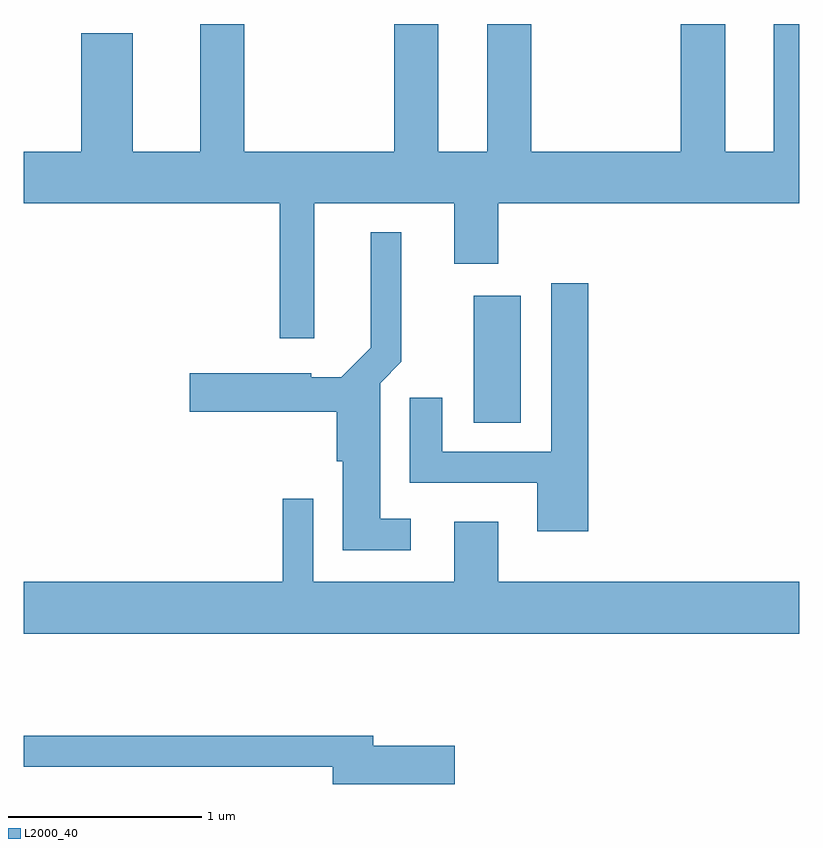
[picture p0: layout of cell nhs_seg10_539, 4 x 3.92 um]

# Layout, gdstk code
import gdstk
lib = gdstk.Library(unit=1e-6, precision=1e-09)
def R(c, l, rs):  # rectangles x0, y0, x1, y1
    for r in rs: c.add(gdstk.rectangle(r[:2], r[2:], *l))
def P(c, l, *ps):  # polygons
    for p in ps: c.add(gdstk.Polygon(p, *l))
L2000_40 = (2000, 40)

nhs_seg10_539 = lib.new_cell('nhs_seg10_539')
R(nhs_seg10_539, L2000_40, [(201.931,2210.466,202.174,2211.119)])
P(nhs_seg10_539, L2000_40, [(201.109,2211.596),(201.831,2211.596),(201.831,2211.286),(202.059,2211.286),(202.059,2211.596),(203.611,2211.596),(203.611,2212.522),(203.481,2212.522),(203.481,2211.864),(203.229,2211.864),(203.229,2212.522),(203.001,2212.522),(203.001,2211.864),(202.229,2211.864),(202.229,2212.522),(202.001,2212.522),(202.001,2211.864),(201.749,2211.864),(201.749,2212.522),(201.521,2212.522),(201.521,2211.864),(200.749,2211.864),(200.749,2212.522),(200.521,2212.522),(200.521,2211.864),(200.174,2211.864),(200.174,2212.474),(199.906,2212.474),(199.906,2211.864),(199.611,2211.864),(199.611,2211.596),(200.931,2211.596),(200.931,2210.901),(201.109,2210.901)],
  [(201.608,2209.969),(201.449,2209.969),(201.449,2210.669),(201.559,2210.779),(201.559,2211.448),(201.401,2211.448),(201.401,2210.852),(201.249,2210.699),(201.094,2210.699),(201.094,2210.719),(200.466,2210.719),(200.466,2210.521),(201.226,2210.521),(201.226,2210.266),(201.256,2210.266),(201.256,2209.806),(201.608,2209.806)],
  [(202.524,2211.184),(202.331,2211.184),(202.331,2210.314),(201.769,2210.314),(201.769,2210.593),(201.601,2210.593),(201.601,2210.156),(202.261,2210.156),(202.261,2209.906),(202.524,2209.906)],
  [(203.611,2209.644),(202.059,2209.644),(202.059,2209.954),(201.831,2209.954),(201.831,2209.644),(201.104,2209.644),(201.104,2210.073),(200.946,2210.073),(200.946,2209.644),(199.611,2209.644),(199.611,2209.376),(203.611,2209.376)],
  [(201.834,2208.799),(201.414,2208.799),(201.414,2208.849),(199.611,2208.849),(199.611,2208.691),(201.206,2208.691),(201.206,2208.601),(201.834,2208.601)])

lib.write_gds('nhs_seg10_539.gds')
